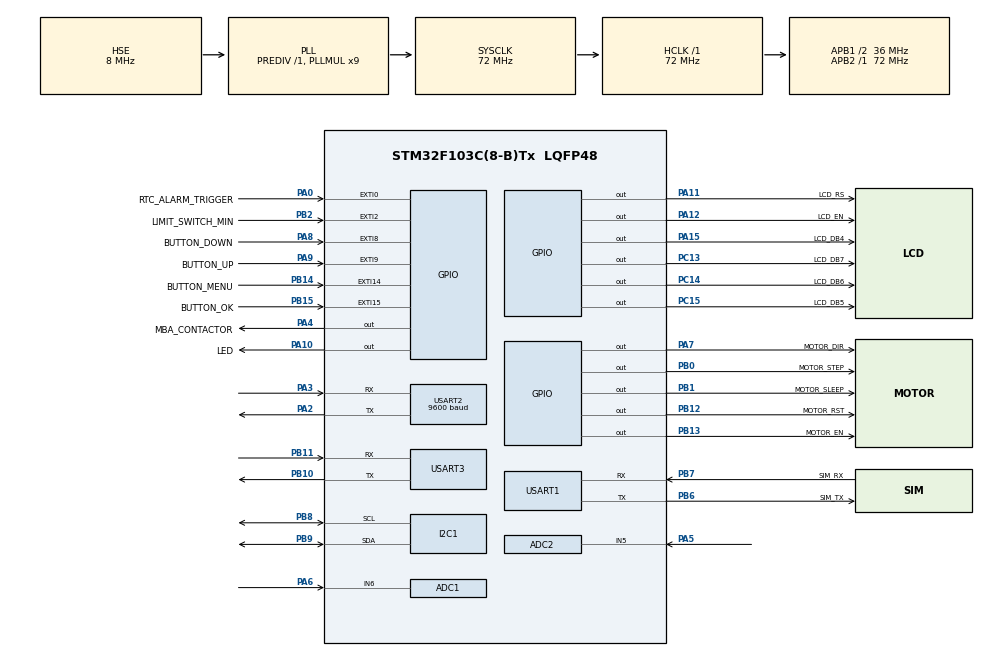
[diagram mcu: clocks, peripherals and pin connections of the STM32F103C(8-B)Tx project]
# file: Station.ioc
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ADC1.Channel-2\#ChannelRegularConversion=ADC_CHANNEL_6
ADC1.ContinuousConvMode=ENABLE
ADC1.NbrOfConversionFlag=1
ADC1.Rank-2\#ChannelRegularConversion=1
ADC1.SamplingTime-2\#ChannelRegularConversion=ADC_SAMPLETIME_239CYCLES_5
ADC1.master=1
ADC2.Channel-0\#ChannelRegularConversion=ADC_CHANNEL_5
ADC2.ContinuousConvMode=ENABLE
ADC2.NbrOfConversionFlag=1
ADC2.Rank-0\#ChannelRegularConversion=1
ADC2.SamplingTime-0\#ChannelRegularConversion=ADC_SAMPLETIME_71CYCLES_5
Dma.Request0=USART2_RX
Dma.Request1=USART1_RX
Dma.Request2=USART3_RX
Dma.USART1_RX.1.Direction=DMA_PERIPH_TO_MEMORY
Dma.USART1_RX.1.Instance=DMA1_Channel5
Dma.USART1_RX.1.MemDataAlignment=DMA_MDATAALIGN_BYTE
Dma.USART1_RX.1.MemInc=DMA_MINC_ENABLE
Dma.USART1_RX.1.Mode=DMA_NORMAL
Dma.USART1_RX.1.PeriphDataAlignment=DMA_PDATAALIGN_BYTE
Dma.USART1_RX.1.PeriphInc=DMA_PINC_DISABLE
Dma.USART1_RX.1.Priority=DMA_PRIORITY_LOW
Dma.USART2_RX.0.Direction=DMA_PERIPH_TO_MEMORY
Dma.USART2_RX.0.Instance=DMA1_Channel6
Dma.USART2_RX.0.MemDataAlignment=DMA_MDATAALIGN_BYTE
Dma.USART2_RX.0.MemInc=DMA_MINC_ENABLE
Dma.USART2_RX.0.Mode=DMA_NORMAL
Dma.USART2_RX.0.PeriphDataAlignment=DMA_PDATAALIGN_BYTE
Dma.USART2_RX.0.PeriphInc=DMA_PINC_DISABLE
Dma.USART2_RX.0.Priority=DMA_PRIORITY_LOW
Dma.USART3_RX.2.Direction=DMA_PERIPH_TO_MEMORY
Dma.USART3_RX.2.Instance=DMA1_Channel3
Dma.USART3_RX.2.MemDataAlignment=DMA_MDATAALIGN_BYTE
Dma.USART3_RX.2.MemInc=DMA_MINC_ENABLE
Dma.USART3_RX.2.Mode=DMA_NORMAL
Dma.USART3_RX.2.PeriphDataAlignment=DMA_PDATAALIGN_BYTE
Dma.USART3_RX.2.PeriphInc=DMA_PINC_DISABLE
Dma.USART3_RX.2.Priority=DMA_PRIORITY_LOW
I2C1.I2C_Mode=I2C_Fast
Mcu.Family=STM32F1
Mcu.Name=STM32F103C(8-B)Tx
Mcu.Package=LQFP48
NVIC.ADC1_2_IRQn=true\:6\:0\:true\:false\:true\:true\:true\:true
NVIC.DMA1_Channel3_IRQn=true\:0\:0\:false\:false\:true\:false\:true\:true
NVIC.DMA1_Channel5_IRQn=true\:0\:0\:false\:false\:true\:false\:true\:true
NVIC.DMA1_Channel6_IRQn=true\:0\:0\:true\:false\:true\:false\:true\:true
NVIC.EXTI0_IRQn=true\:0\:0\:false\:false\:true\:true\:true\:true
NVIC.EXTI15_10_IRQn=true\:0\:0\:false\:false\:true\:true\:true\:true
NVIC.EXTI2_IRQn=true\:0\:0\:false\:false\:true\:true\:true\:true
NVIC.EXTI9_5_IRQn=true\:0\:0\:false\:false\:true\:true\:true\:true
NVIC.PriorityGroup=NVIC_PRIORITYGROUP_4
NVIC.USART1_IRQn=true\:0\:0\:true\:false\:true\:true\:true\:true
NVIC.USART2_IRQn=true\:1\:0\:true\:false\:true\:true\:true\:true
NVIC.USART3_IRQn=true\:2\:0\:true\:false\:true\:true\:true\:true
PA0-WKUP.GPIO_Label=RTC_ALARM_TRIGGER
PA0-WKUP.GPIO_ModeDefaultEXTI=GPIO_MODE_IT_FALLING
PA0-WKUP.Signal=GPXTI0
PA10.GPIO_Label=LED
PA10.Signal=GPIO_Output
PA11.GPIO_Label=LCD_RS
PA11.Signal=GPIO_Output
PA12.GPIO_Label=LCD_EN
PA12.Signal=GPIO_Output
PA13.Mode=Serial_Wire
PA13.Signal=SYS_JTMS-SWDIO
PA14.Mode=Serial_Wire
PA14.Signal=SYS_JTCK-SWCLK
PA15.GPIO_Label=LCD_DB4
PA15.Signal=GPIO_Output
PA2.Mode=Asynchronous
PA2.Signal=USART2_TX
PA3.Mode=Asynchronous
PA3.Signal=USART2_RX
PA4.GPIO_Label=MBA_CONTACTOR
PA4.PinState=GPIO_PIN_SET
PA4.Signal=GPIO_Output
PA5.Signal=ADCx_IN5
PA6.Signal=ADCx_IN6
PA7.GPIO_Label=MOTOR_DIR
PA7.Signal=GPIO_Output
PA8.GPIO_Label=BUTTON_DOWN
PA8.GPIO_ModeDefaultEXTI=GPIO_MODE_IT_FALLING
PA8.Signal=GPXTI8
PA9.GPIO_Label=BUTTON_UP
PA9.GPIO_ModeDefaultEXTI=GPIO_MODE_IT_FALLING
PA9.Signal=GPXTI9
PB0.GPIO_Label=MOTOR_STEP
PB0.Signal=GPIO_Output
PB1.GPIO_Label=MOTOR_SLEEP
PB1.Signal=GPIO_Output
PB10.Mode=Asynchronous
PB10.Signal=USART3_TX
PB11.Mode=Asynchronous
PB11.Signal=USART3_RX
PB12.GPIO_Label=MOTOR_RST
PB12.Signal=GPIO_Output
PB13.GPIO_Label=MOTOR_EN
PB13.Signal=GPIO_Output
PB14.GPIO_Label=BUTTON_MENU
PB14.GPIO_ModeDefaultEXTI=GPIO_MODE_IT_FALLING
PB14.Signal=GPXTI14
PB15.GPIO_Label=BUTTON_OK
PB15.GPIO_ModeDefaultEXTI=GPIO_MODE_IT_FALLING
PB15.Signal=GPXTI15
PB2.GPIO_Label=LIMIT_SWITCH_MIN
PB2.Signal=GPXTI2
PB6.GPIO_Label=SIM_TX
PB6.Mode=Asynchronous
PB6.Signal=USART1_TX
PB7.GPIO_Label=SIM_RX
PB7.Mode=Asynchronous
PB7.Signal=USART1_RX
PB8.Mode=I2C
PB8.Signal=I2C1_SCL
PB9.Mode=I2C
PB9.Signal=I2C1_SDA
PC13-TAMPER-RTC.GPIO_Label=LCD_DB7
PC13-TAMPER-RTC.Signal=GPIO_Output
PC14-OSC32_IN.GPIO_Label=LCD_DB6
PC14-OSC32_IN.Signal=GPIO_Output
PC15-OSC32_OUT.GPIO_Label=LCD_DB5
PC15-OSC32_OUT.Signal=GPIO_Output
PD0-OSC_IN.Mode=HSE-External-Oscillator
PD0-OSC_IN.Signal=RCC_OSC_IN
PD1-OSC_OUT.Mode=HSE-External-Oscillator
PD1-OSC_OUT.Signal=RCC_OSC_OUT
ProjectManager.HeapSize=0x200
ProjectManager.StackSize=0x400
ProjectManager.TargetToolchain=STM32CubeIDE
RCC.ADCPresc=RCC_ADCPCLK2_DIV6
RCC.AHBFreq_Value=72000000
RCC.APB1CLKDivider=RCC_HCLK_DIV2
RCC.APB1Freq_Value=36000000
RCC.APB1TimFreq_Value=72000000
RCC.APB2Freq_Value=72000000
RCC.APB2TimFreq_Value=72000000
RCC.HCLKFreq_Value=72000000
RCC.PLLMUL=RCC_PLL_MUL9
RCC.PLLSourceVirtual=RCC_PLLSOURCE_HSE
RCC.SYSCLKFreq_VALUE=72000000
RCC.SYSCLKSource=RCC_SYSCLKSOURCE_PLLCLK
RCC.USBFreq_Value=72000000
SH.ADCx_IN5.0=ADC2_IN5,IN5
SH.ADCx_IN6.0=ADC1_IN6,IN6
TIM1.Period=0xFFFF-1
TIM1.Prescaler=71
USART1.VirtualMode=VM_ASYNC
USART1.WordLength=WORDLENGTH_8B
USART2.BaudRate=9600
USART2.VirtualMode=VM_ASYNC
USART3.VirtualMode=VM_ASYNC
VP_TIM1_VS_ClockSourceINT.Mode=Internal
board=custom

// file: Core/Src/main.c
/* USER CODE BEGIN Header */
/**
  ******************************************************************************
  * @file           : main.c
  * @brief          : Main program body
  ******************************************************************************
  * @attention
  *
  * Copyright (c) 2023 STMicroelectronics.
  * All rights reserved.
  *
  * This software is licensed under terms that can be found in the LICENSE file
  * in the root directory of this software component.
  * If no LICENSE file comes with this software, it is provided AS-IS.
  *
  ******************************************************************************
  */
/* USER CODE END Header */
#include "main.h"
#include "adc.h"
#include "dma.h"
#include "i2c.h"
#include "tim.h"
#include "usart.h"
#include "gpio.h"

/* USER CODE BEGIN Includes */

#include <stdio.h>
#include "Serial_CFG.h"

#include "flash_storage.h"
#include "Lora.h"
#include "Task.h"
#include "button.h"

#include "App_MCU.h"
#include "App_MQTT.h"
#include "App_SMS.h"
#include "App_MBA_stepmor.h"

/* USER CODE END Includes */

/* USER CODE BEGIN PD */

#define FLASH_ID_ADDR  0x0801FC00

/* USER CODE END PD */

/* USER CODE BEGIN PV */

SIM_t mySIM;

SMS_t mySMS;

Station_t myStation = STATION_T_INIT;

// Create list of sensor node
s_list* SSnode_list;

uint8_t volatile sync_flag = 0;       // 0 : calib  ; 1: synchronize sensor node

uint32_t volatile  tmpadc= 0;
uint16_t volatile  adccount = 0;
uint32_t volatile  tmpadc1 = 0;
uint16_t volatile  adccount1 = 0;

uint32_t curtick = 0;
uint32_t pretick = 0;

uint32_t turnonMBAtick = 0;
uint8_t turnonMBAflag = 0;

uint8_t flag = 0;

//extern uint8_t alarmflag;
//uint8_t flag = 0;
//uint8_t debug = 0;

/* USER CODE END PV */

void SystemClock_Config(void);

/* USER CODE BEGIN 0 */
static void ADC_Convert(uint32_t volatile *adcval, uint8_t CurorVol);
void HAL_UARTEx_RxEventCallback(UART_HandleTypeDef *huart, uint16_t Size)
{
	if (huart->Instance == USART1 )
	{
		SIM_callback(Size);
	}
	if (huart->Instance== USART2)
	{
		Serial_CFG_Callback(Size);
	}

	if (huart->Instance == USART3) {
		Lora_callback(Size);
	}
}

void HAL_GPIO_EXTI_Callback(uint16_t GPIO_Pin)
{
	if (GPIO_Pin == RTC_ALARM_TRIGGER_Pin)	{
//		alarmflag = 0;

		if(!sync_flag)	{

			if (flag == 0)	{

				// Set Mode Measure for Sensor node
				Lora_Setmode(MEASURE, 0);

				DS3231_ClearAlarm1();
				// Set alarm for Turn OFF MBA
				DS3231_SetAlarm1(ALARM_MODE_HOUR_MIN_SEC_MATCHED, 0, myStation.calibTime.hour, myStation.calibTime.min, myStation.calibTime.sec + 3);

				flag = 1;
			}
			else if (flag == 1)	{

				//Turn OFF MBA
				myStation.MBAstate = switchContactor(MBA_OFF);

				DS3231_ClearAlarm1();
				DS3231_SetAlarm1(ALARM_MODE_HOUR_MIN_SEC_MATCHED, 0, myStation.calibTime.hour, myStation.calibTime.min, myStation.calibTime.sec + 4);
				triggerTaskflag(TASK_START_CALIB, FLAG_EN);

				displayAfterSwitchoff = 1;
				flag = 2;
			}
			else {
				//Turn OFF MBA
				myStation.MBAstate = switchContactor(MBA_ON);

				DS3231_ClearAlarm1();
				flag = 0;
			}

		}
		else {
			Lora_Setmode(SLEEP, 0);
			DS3231_ClearAlarm1();
		}

	}
	curtick = HAL_GetTick();

	if (curtick - pretick > 20)	{
		pretick = curtick;

		if (GPIO_Pin == BUTTON_MENU_Pin) {
			// Button Menu handler
			buttonMENU_handler();
		}

		if (GPIO_Pin == BUTTON_OK_Pin) {
			// Button OK handler
			buttonOK_handler();
		}

		if (GPIO_Pin == BUTTON_UP_Pin) {
			// Button UP handler
			buttonUP_handler();
		}

		if (GPIO_Pin == BUTTON_DOWN_Pin) {
			// Button DOWN handler
			buttonDOWN_handler();
		}

//		if (GPIO_Pin == LIMIT_SWITCH_MAX_Pin) {
//			// Button Limit MAX handler
//			SW_LIMIT_MAX_handler();
//		}

		if (GPIO_Pin == LIMIT_SWITCH_MIN_Pin) {
			// Button Limit MIN handler
			SW_LIMIT_MIN_handler();
		}
	}
}

void HAL_ADC_ConvCpltCallback(ADC_HandleTypeDef* hadc)
{
	if (hadc->Instance == hadc1.Instance)	{
		tmpadc += HAL_ADC_GetValue(&hadc1);
		adccount++;
		ADC_Convert(&tmpadc, 0);
	}
	if (hadc->Instance == hadc2.Instance)	{
		tmpadc1 += HAL_ADC_GetValue(&hadc2);
		adccount1++;
		ADC_Convert(&tmpadc1, 1);
	}
}

//void HAL_TIM_PeriodElapsedCallback(TIM_HandleTypeDef *htim)
//{
//	if (htim->Instance == &htim3)	{
//		// Turn OFF MBA for Calib
//		myStation.MBAstate = switchContactor(MBA_OFF);
//		// Start timer for Turn ON MBA
//
//		// Stop timer Turn OFF
//		HAL_TIM_Base_Stop_IT(&htim3);
//	}
//}
//void setStationMode(Station_Mode_t mode)
//{
//	myStation.StMODE = mode;
//}
//
//Station_Mode_t checkStationMode()
//{
//	return myStation.StMODE;
//}
/* USER CODE END 0 */

int main(void)
{

  /* MCU Configuration--------------------------------------------------------*/

  /* Reset of all peripherals, Initializes the Flash interface and the Systick. */
  HAL_Init();

  /* Configure the system clock */
  SystemClock_Config();

  /* Initialize all configured peripherals */
  MX_GPIO_Init();
  MX_DMA_Init();
  MX_USART1_UART_Init();
  MX_USART2_UART_Init();
  MX_I2C1_Init();
  MX_USART3_UART_Init();
  MX_TIM1_Init();
  MX_ADC1_Init();
  MX_ADC2_Init();
  /* USER CODE BEGIN 2 */
  SSnode_list =list_create();

  myStation.ssNode_list = SSnode_list;

  // Get station ID from flash
//  Flash_Write_NUM(FLASH_PAGE_127, 0x04);
  myStation.stID = (uint8_t)Flash_Read_NUM(FLASH_PAGE_127);

  /********************Configure MQTT********************************/
	mySIM.mqttServer.host = "tcp://broker.hivemq.com";
	mySIM.mqttServer.port = 1883;
	mySIM.mqttServer.willtopic = "unnormal_disconnect";
	mySIM.mqttServer.willmsg = (uint8_t*)malloc(sizeof(myStation.stID));
	sprintf((char*)mySIM.mqttServer.willmsg,"%d",myStation.stID);
	mySIM.mqttClient.keepAliveInterval = 180;
	sprintf(mySIM.mqttClient.clientID,"bsrclientII&IL%d",myStation.stID);
	mySIM.mqttReceive.qos =1;
	mySIM.mqttServer.connect=0;

	mySIM.sms = mySMS;

	// ADC
	HAL_ADC_Start_IT(&hadc1);

	initTask();

	// MBA and Step motor
	initApp_MBA_stepmor();
	// Lora
	initLora();

	// GPS
	initSerial_CFG();

	initGPS(&myRTC);

	initSIM();

	// Init MQTT app
	initApp_MQTT();

	initApp_SMS(&mySIM.sms);

//	init_App_Serial();

	// Init RTC module (DS3231)
	DS3231_Init(&hi2c1);

	initApp_Display();

	triggerTaskflag(TASK_GET_GPS_TIME, FLAG_EN);

//DS3231_GetTime(&myRTC);
//	myRTC.Year = 24;
//	myRTC.Month = 1;
//	myRTC.Date = 18;
//	myRTC.DaysOfWeek = 3;
//	myRTC.Hour = 15;
//	myRTC.Min = 17;
//	myRTC.Sec = 0;
//	DS3231_SetTime(&myRTC);

//	myStation.calibTime.hour = 1;
//	myStation.calibTime.min = 40;
//	myStation.calibTime.sec = 0;
//
//	displayCalibFlag = 1;

  /* USER CODE END 2 */

  /* Infinite loop */
  while (1)
  {

    /* USER CODE BEGIN 3 */

	  processApp_MCU();
	  processingApp_display();
	  processApp_MQTT();
	  processingApp_MBA_stepmor();
	  processApp_SMS();

//	  testSynchronize();

	  HAL_Delay(20);
  }
  /* USER CODE END 3 */
}

void SystemClock_Config(void)
{
  RCC_OscInitTypeDef RCC_OscInitStruct = {0};
  RCC_ClkInitTypeDef RCC_ClkInitStruct = {0};
  RCC_PeriphCLKInitTypeDef PeriphClkInit = {0};

  /** Initializes the RCC Oscillators according to the specified parameters
  * in the RCC_OscInitTypeDef structure.
  */
  RCC_OscInitStruct.OscillatorType = RCC_OSCILLATORTYPE_HSE;
  RCC_OscInitStruct.HSEState = RCC_HSE_ON;
  RCC_OscInitStruct.HSEPredivValue = RCC_HSE_PREDIV_DIV1;
  RCC_OscInitStruct.HSIState = RCC_HSI_ON;
  RCC_OscInitStruct.PLL.PLLState = RCC_PLL_ON;
  RCC_OscInitStruct.PLL.PLLSource = RCC_PLLSOURCE_HSE;
  RCC_OscInitStruct.PLL.PLLMUL = RCC_PLL_MUL9;
  if (HAL_RCC_OscConfig(&RCC_OscInitStruct) != HAL_OK)
  {
    Error_Handler();
  }

  /** Initializes the CPU, AHB and APB buses clocks
  */
  RCC_ClkInitStruct.ClockType = RCC_CLOCKTYPE_HCLK|RCC_CLOCKTYPE_SYSCLK
                              |RCC_CLOCKTYPE_PCLK1|RCC_CLOCKTYPE_PCLK2;
  RCC_ClkInitStruct.SYSCLKSource = RCC_SYSCLKSOURCE_PLLCLK;
  RCC_ClkInitStruct.AHBCLKDivider = RCC_SYSCLK_DIV1;
  RCC_ClkInitStruct.APB1CLKDivider = RCC_HCLK_DIV2;
  RCC_ClkInitStruct.APB2CLKDivider = RCC_HCLK_DIV1;

  if (HAL_RCC_ClockConfig(&RCC_ClkInitStruct, FLASH_LATENCY_2) != HAL_OK)
  {
    Error_Handler();
  }
  PeriphClkInit.PeriphClockSelection = RCC_PERIPHCLK_ADC;
  PeriphClkInit.AdcClockSelection = RCC_ADCPCLK2_DIV6;
  if (HAL_RCCEx_PeriphCLKConfig(&PeriphClkInit) != HAL_OK)
  {
    Error_Handler();
  }
}

/* USER CODE BEGIN 4 */
/*
 *  @Para:  CurorVol : 0 Current, 1 Voltage
 */
static void ADC_Convert(uint32_t volatile *adcval, uint8_t CurorVol)
{
	switch (CurorVol)	{

	case 0:
		if (adccount == 1000)	{
			myStation.stCurrent = (uint16_t)( ( ( (*adcval)*3/4095) + 50)/6);
			*adcval = 0;
			adccount = 0;
		}
		break;

	case 1:
		if (adccount1 == 1000)	{
			myStation.stVoltage = (uint16_t)( ( ( (*adcval)*3/4095) + 50)/6);
			*adcval = 0;
			adccount1 = 0;
		}
		break;
	default:
		break;
	}

}
/* USER CODE END 4 */

void Error_Handler(void)
{
  __disable_irq();
  while (1)
  {
  }
}
